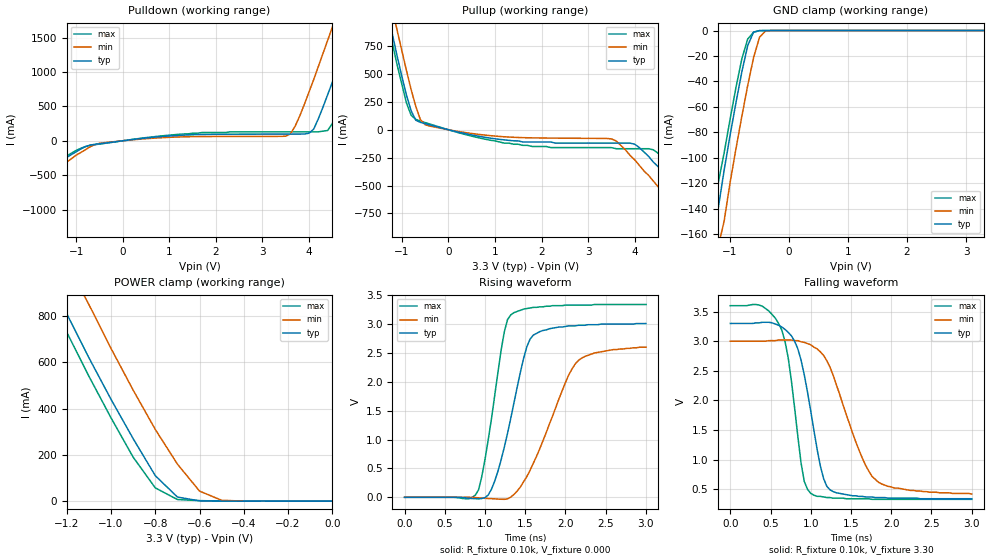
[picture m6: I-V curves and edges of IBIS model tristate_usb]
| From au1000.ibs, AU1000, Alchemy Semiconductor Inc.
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|   Model tristate_usb
[Model]   tristate_usb
Model_type   I/O
Polarity   Non-Inverting
Vinl = 0.660V
Vinh = 2.640V
Enable   Active-High
C_comp   2.50pF   2.40pF   2.60pF
[Temperature Range]   27.00   100.00   0.000
[Voltage Range]   3.30V   3.00V   3.60V
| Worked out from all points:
|   slope of the pulldown table from 0 to 0.495 V, typ, clamps not added: 12.4 ohm
|   slope of the pullup table from 0 to 0.495 V, typ, clamps not added: 10.7 ohm
|   GND clamp passes 1 mA (typ) near -0.58 V on its own axis
|   POWER clamp passes 1 mA (typ) near -0.58 V on its own axis
|   rising waveform, R_fixture 0.10k, V_fixture 0.000: 20-80 % time 289ps typ, 451ps min, 214ps max; typ from 0 V to 3.01 V
|   falling waveform, R_fixture 0.10k, V_fixture 3.30: 20-80 % time 240ps typ, 410ps min, 188ps max; typ from 3.3 V to 0.34 V
[Pulldown]
| voltage   I(typ)   I(min)   I(max)
-3.3V     -1.27A     -1.33A     -1.25A
-1.2V     -240mA     -310mA     -220mA
-600mV    -51.58mA   -56.07mA   -57.17mA
1.7V      91.83mA    61.57mA    120mA
3.6V      97.19mA    100mA      130mA
3.8V      97.46mA    360mA      130mA
4.1V      170mA      890mA      130mA
4.4V      670mA      1.46A      150mA
4.5V      850mA      1.65A      250mA
4.9V      1.61A      2.42A      960mA
5.3V      2.39A      3.19A      1.72A
6.6V      4.9A       5.69A      4.25A
[Pullup]
| voltage   I(typ)   I(min)   I(max)
-3.3V     4.9A       5.11A      4.83A
-1.3V     1.04A      1.27A      950mA
-1.2V     850mA      1.08A      770mA
-1.1V     660mA      890mA      580mA
-800mV    170mA      360mA      130mA
-500mV    54.54mA    44.88mA    64.39mA
3.5V      -120mA     -82.25mA   -160mA
4.4V      -290mA     -460mA     -180mA
5.3V      -720mA     -900mA     -590mA
5.7V      -920mA     -1.1A      -780mA
6V        -1.07A     -1.24A     -930mA
6.6V      -1.36A     -1.54A     -1.23A
[GND_clamp]
| voltage   I(typ)   I(min)   I(max)
-3.3V     -720mA     -760mA     -710mA
-1.4V     -190mA     -230mA     -180mA
-1.3V     -160mA     -200mA     -150mA
-1.2V     -140mA     -170mA     -120mA
-1.1V     -110mA     -150mA     -96.36mA
-1V       -82.72mA   -120mA     -70.17mA
-800mV    -32.65mA   -67.63mA   -22.37mA
-700mV    -11.86mA   -43.2mA    -6.68mA
-600mV    -1.23mA    -21.19mA   -1.3mA
-500mV    -49.23uA   -5.33mA    -130uA
-400mV    -2.14uA    -410uA     -6.5uA
3.3V      10pA       1.04nA     -10pA
[POWER_clamp]
| voltage   I(typ)   I(min)   I(max)
-3.3V     4.75A      4.92A      4.69A
-1.3V     1A         1.22A      920mA
-1.2V     810mA      1.03A      730mA
-1.1V     620mA      850mA      540mA
-1V       440mA      660mA      360mA
-900mV    270mA      480mA      190mA
-800mV    110mA      310mA      57.26mA
-700mV    17.65mA    160mA      6.88mA
-600mV    1.22mA     43.35mA    2.16mA
-500mV    120uA      3.64mA     500uA
-400mV    9.35uA     180uA      38.34uA
0V        50pA       1.95nA     80pA
[Ramp]
| variable   typ   min   max
dV/dt_r   1.96/0.32ns   1.69/0.50ns   2.25/0.25ns
dV/dt_f   1.71/0.23ns   1.56/0.41ns   1.98/0.18ns
R_load = 0.10k
[Rising Waveform]
R_fixture = 0.10k
V_fixture = 0.000
| time   V(typ)   V(min)   V(max)
0s        0V         20nV       0V
800ps     -16.46mV   340uV      -24.21mV
920ps     -26.96mV   -9.41mV    130mV
1.08ns    140mV      -23.45mV   1.36V
1.24ns    870mV      -35.07mV   2.87V
1.32ns    1.37V      3.77mV     3.16V
1.48ns    2.41V      270mV      3.26V
1.6ns     2.81V      590mV      3.29V
2.16ns    2.98V      2.37V      3.33V
3ns       3.01V      2.6V       3.34V
[Falling Waveform]
R_fixture = 0.10k
V_fixture = 3.30
| time   V(typ)   V(min)   V(max)
0s        3.3V       3V         3.6V
400ps     3.32V      3V         3.59V
640ps     3.24V      3.02V      3.19V
720ps     3.15V      3.02V      2.72V
840ps     2.87V      3.01V      1.39V
920ps     2.43V      2.98V      630mV
1ns       1.82V      2.94V      430mV
1.2ns     550mV      2.67V      360mV
1.76ns    370mV      720mV      330mV
3ns       340mV      420mV      330mV
